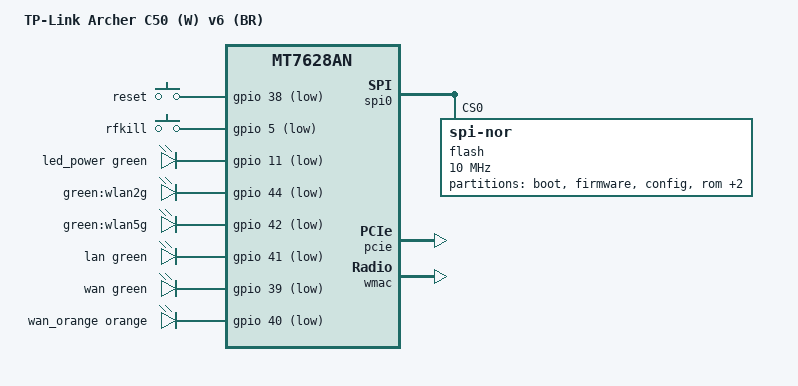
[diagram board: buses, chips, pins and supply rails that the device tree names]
// SPDX-License-Identifier: GPL-2.0-or-later OR MIT

#include <dt-bindings/leds/common.h>

#include "mt7628an.dtsi"

#include <dt-bindings/gpio/gpio.h>
#include <dt-bindings/input/input.h>

/ {
	compatible = "tplink,archer-c50-w-v6", "mediatek,mt7628an-soc";
	model = "TP-Link Archer C50 (W) v6 (BR)";

	aliases {
		led-boot = &led_power;
		led-failsafe = &led_power;
		led-running = &led_power;
		led-upgrade = &led_power;
	};

	chosen {
		bootargs = "console=ttyS0,115200";
	};

	aliases {
		label-mac-device = &ethernet;
	};

	keys {
		compatible = "gpio-keys";

		reset {
			label = "reset";
			gpios = <&gpio 38 GPIO_ACTIVE_LOW>;
			linux,code = <KEY_RESTART>;
		};

		rfkill {
			label = "rfkill";
			gpios = <&gpio 5 GPIO_ACTIVE_LOW>;
			linux,code = <KEY_RFKILL>;
		};
	};

	leds {
		compatible = "gpio-leds";

		led_power: power {
			function = LED_FUNCTION_POWER;
			color = <LED_COLOR_ID_GREEN>;
			gpios = <&gpio 11 GPIO_ACTIVE_LOW>;
		};

		wlan2 {
			label = "green:wlan2g";
			gpios = <&gpio 44 GPIO_ACTIVE_LOW>;
		};

		wlan5 {
			label = "green:wlan5g";
			gpios = <&gpio 42 GPIO_ACTIVE_LOW>;
		};

		lan {
			function = LED_FUNCTION_LAN;
			color = <LED_COLOR_ID_GREEN>;
			gpios = <&gpio 41 GPIO_ACTIVE_LOW>;
		};

		wan {
			function = LED_FUNCTION_WAN;
			color = <LED_COLOR_ID_GREEN>;
			gpios = <&gpio 39 GPIO_ACTIVE_LOW>;
		};

		wan_orange {
			function = LED_FUNCTION_WAN;
			color = <LED_COLOR_ID_ORANGE>;
			gpios = <&gpio 40 GPIO_ACTIVE_LOW>;
		};
	};
};

&spi0 {
	status = "okay";

	flash@0 {
		compatible = "jedec,spi-nor";
		reg = <0>;
		spi-max-frequency = <10000000>;

		partitions {
			compatible = "fixed-partitions";
			#address-cells = <1>;
			#size-cells = <1>;

			partition@0 {
				label = "boot";
				reg = <0x0 0x20000>;
				read-only;
			};

			partition@20000 {
				compatible = "tplink,firmware";
				label = "firmware";
				reg = <0x20000 0x7a0000>;
			};

			partition@7c0000 {
				label = "config";
				reg = <0x7c0000 0x10000>;
				read-only;
			};

			partition@7d0000 {
				label = "rom";
				reg = <0x7d0000 0x10000>;
				read-only;

				nvmem-layout {
					compatible = "fixed-layout";
					#address-cells = <1>;
					#size-cells = <1>;

					macaddr_rom_f100: macaddr@f100 {
						compatible = "mac-base";
						reg = <0xf100 0x6>;
						#nvmem-cell-cells = <1>;
					};
				};
			};

			partition@7e0000 {
				label = "romfile";
				reg = <0x7e0000 0x10000>;
			};

			partition@7f0000 {
				label = "radio";
				reg = <0x7f0000 0x10000>;
				read-only;

				nvmem-layout {
					compatible = "fixed-layout";
					#address-cells = <1>;
					#size-cells = <1>;

					eeprom_radio_0: eeprom@0 {
						reg = <0x0 0x400>;
					};

					eeprom_radio_8000: eeprom@8000 {
						reg = <0x8000 0x200>;
					};
				};
			};
		};
	};
};

&ehci {
	status = "disabled";
};

&ohci {
	status = "disabled";
};

&state_default {
	gpio {
		groups = "i2c", "p0led_an", "p1led_an", "p2led_an",
				   "p3led_an", "p4led_an", "wdt", "wled_an";
		function = "gpio";
	};
};

&pcie {
	status = "okay";
};

&pcie0 {
	wifi@0,0 {
		reg = <0x0000 0 0 0 0>;
		ieee80211-freq-limit = <5000000 6000000>;
		nvmem-cells = <&eeprom_radio_8000>, <&macaddr_rom_f100 (-1)>;
		nvmem-cell-names = "eeprom", "mac-address";
	};
};

&eeprom_radio_8000 {
	/* V2 has different eeprom size '0x4da8' for MT7613 */
	reg = <0x8000 0x4da8>;
};

&wmac {
	status = "okay";

	nvmem-cells = <&eeprom_radio_0>, <&macaddr_rom_f100 0>;
	nvmem-cell-names = "eeprom", "mac-address";
};

&ethernet {
	nvmem-cells = <&macaddr_rom_f100 0>;
	nvmem-cell-names = "mac-address";
};

&esw {
	mediatek,portmap = <0x3e>;
};
